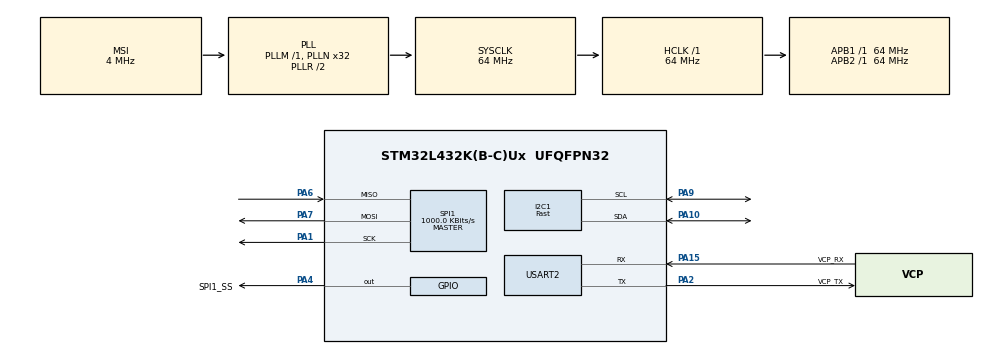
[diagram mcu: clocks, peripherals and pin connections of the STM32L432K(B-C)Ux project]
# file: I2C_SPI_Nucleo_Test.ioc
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I2C1.Analog_Filter=I2C_ANALOGFILTER_ENABLE
I2C1.CustomTiming=Disabled
I2C1.I2C_Fall_Time=0
I2C1.I2C_Rise_Time=0
I2C1.I2C_Speed_Mode=I2C_Fast
I2C1.Timing=0x00602173
Mcu.Family=STM32L4
Mcu.Name=STM32L432K(B-C)Ux
Mcu.Package=UFQFPN32
NVIC.PriorityGroup=NVIC_PRIORITYGROUP_4
PA0.GPIO_Label=MCO [High speed clock in]
PA0.Mode=HSE-External-Clock-Source-for-LittleOrca
PA0.Signal=RCC_CK_IN
PA1.GPIO_PuPd=GPIO_PULLDOWN
PA1.Mode=Full_Duplex_Master
PA1.Signal=SPI1_SCK
PA10.Mode=I2C
PA10.Signal=I2C1_SDA
PA13\ (JTMS-SWDIO).GPIO_Label=SWDIO
PA13\ (JTMS-SWDIO).Mode=Serial_Wire
PA13\ (JTMS-SWDIO).Signal=SYS_JTMS-SWDIO
PA14\ (JTCK-SWCLK).GPIO_Label=SWCLK
PA14\ (JTCK-SWCLK).Mode=Serial_Wire
PA14\ (JTCK-SWCLK).Signal=SYS_JTCK-SWCLK
PA15\ (JTDI).GPIO_Label=VCP_RX
PA15\ (JTDI).Mode=Asynchronous
PA15\ (JTDI).Signal=USART2_RX
PA2.GPIO_Label=VCP_TX
PA2.Mode=Asynchronous
PA2.Signal=USART2_TX
PA4.GPIO_Label=SPI1_SS
PA4.GPIO_PuPd=GPIO_PULLDOWN
PA4.GPIO_Speed=GPIO_SPEED_FREQ_VERY_HIGH
PA4.PinState=GPIO_PIN_SET
PA4.Signal=GPIO_Output
PA6.GPIO_PuPd=GPIO_NOPULL
PA6.Mode=Full_Duplex_Master
PA6.Signal=SPI1_MISO
PA7.GPIO_PuPd=GPIO_PULLDOWN
PA7.Mode=Full_Duplex_Master
PA7.Signal=SPI1_MOSI
PA9.Mode=I2C
PA9.Signal=I2C1_SCL
PC14-OSC32_IN\ (PC14).Mode=LSE-External-Oscillator
PC14-OSC32_IN\ (PC14).Signal=RCC_OSC32_IN
PC15-OSC32_OUT\ (PC15).Mode=LSE-External-Oscillator
PC15-OSC32_OUT\ (PC15).Signal=RCC_OSC32_OUT
ProjectManager.HeapSize=0x200
ProjectManager.StackSize=0x400
ProjectManager.TargetToolchain=STM32CubeIDE
RCC.AHBFreq_Value=64000000
RCC.APB1Freq_Value=64000000
RCC.APB1TimFreq_Value=64000000
RCC.APB2Freq_Value=64000000
RCC.APB2TimFreq_Value=64000000
RCC.CortexFreq_Value=64000000
RCC.HCLKFreq_Value=64000000
RCC.HSE_VALUE=8000000
RCC.HSI16_VALUE=16000000
RCC.HSI48_VALUE=48000000
RCC.HSI_VALUE=16000000
RCC.MSI_VALUE=4000000
RCC.PLLMUL=RCC_PLLMUL_4
RCC.PLLN=32
RCC.SYSCLKFreq_VALUE=64000000
RCC.SYSCLKSource=RCC_SYSCLKSOURCE_PLLCLK
RCC.VCOOutputFreq_Value=128000000
SPI1.BaudRatePrescaler=SPI_BAUDRATEPRESCALER_64
SPI1.CalculateBaudRate=1000.0 KBits/s
SPI1.DataSize=SPI_DATASIZE_16BIT
SPI1.Direction=SPI_DIRECTION_2LINES
SPI1.Mode=SPI_MODE_MASTER
SPI1.VirtualType=VM_MASTER
USART2.VirtualMode-Asynchronous=VM_ASYNC
board=NUCLEO-L432KC

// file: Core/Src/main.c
/* USER CODE BEGIN Header */
/**
  ******************************************************************************
  * @file           : main.c
  * @brief          : Main program body
  ******************************************************************************
  * @attention
  *
  * <h2><center>&copy; Copyright (c) 2025 STMicroelectronics.
  * All rights reserved.</center></h2>
  *
  * This software component is licensed by ST under BSD 3-Clause license,
  * the "License"; You may not use this file except in compliance with the
  * License. You may obtain a copy of the License at:
  *                        opensource.org/licenses/BSD-3-Clause
  *
  ******************************************************************************
  */
/* USER CODE END Header */
#include "main.h"

/* USER CODE BEGIN Includes */
#include "stdio.h"
/* USER CODE END Includes */

/* USER CODE BEGIN PD */
#define SLV_ADDRESS (0x69 << 1)

#define PUTCHAR_RETARGET_FUNCT int __io_putchar(int ch)
/* USER CODE END PD */

I2C_HandleTypeDef hi2c1;

SPI_HandleTypeDef hspi1;

UART_HandleTypeDef huart2;

void SystemClock_Config(void);
static void MX_GPIO_Init(void);
static void MX_I2C1_Init(void);
static void MX_SPI1_Init(void);
static void MX_USART2_UART_Init(void);

int main(void)
{
  /* USER CODE BEGIN 1 */
	uint8_t i2c_txData[2] = {0}, i2c_rxData[2] = {0}, spi_txData[2] = {0}, spi_rxData[2] = {0};
	HAL_GPIO_WritePin(SPI1_SS_GPIO_Port, SPI1_SS_Pin, GPIO_PIN_SET); // SS High
  /* USER CODE END 1 */

  /* MCU Configuration--------------------------------------------------------*/

  /* Reset of all peripherals, Initializes the Flash interface and the Systick. */
  HAL_Init();

  /* Configure the system clock */
  SystemClock_Config();

  /* Initialize all configured peripherals */
  MX_GPIO_Init();
  MX_I2C1_Init();
  MX_SPI1_Init();
  MX_USART2_UART_Init();
  /* USER CODE BEGIN 2 */

  // send unique seed and enable bit to I2C Slave; I2C1: SCL:D1/TX, SDA:D0/RX
  i2c_txData[0] = 0x81;
  i2c_txData[1] = 0x01;
  HAL_I2C_Mem_Write(&hi2c1, SLV_ADDRESS, 0x15, 1, &i2c_txData[0], 2, 100);

  // send spi; SPI1: MOSI:A6, MISO:A5, CS:A3, SCK:A1
  spi_txData[1] = (uint8_t)(0x0 << 7) | 0x15;
  spi_txData[0] = 0x56; // write unique seed
  HAL_GPIO_WritePin(SPI1_SS_GPIO_Port, SPI1_SS_Pin, GPIO_PIN_RESET); // SS Pull Low
  HAL_SPI_TransmitReceive(&hspi1, spi_txData, spi_rxData, 1, HAL_MAX_DELAY);
  HAL_GPIO_WritePin(SPI1_SS_GPIO_Port, SPI1_SS_Pin, GPIO_PIN_SET); // SS Pull High
  spi_txData[1] = (uint8_t)(0x0 << 7) | 0x16;
  spi_txData[0] = 0x01; // write enable bit in status/config reg
  HAL_GPIO_WritePin(SPI1_SS_GPIO_Port, SPI1_SS_Pin, GPIO_PIN_RESET); // SS Pull Low
  HAL_SPI_TransmitReceive(&hspi1, spi_txData, spi_rxData, 1, HAL_MAX_DELAY);
  HAL_GPIO_WritePin(SPI1_SS_GPIO_Port, SPI1_SS_Pin, GPIO_PIN_SET); // SS Pull High

  /* USER CODE END 2 */

  /* Infinite loop */
  while (1)
  {

    /* USER CODE BEGIN 3 */

	  // receive registers from I2C Slave
	  HAL_I2C_Mem_Read(&hi2c1, SLV_ADDRESS, 0x15, 1, i2c_rxData, 2, 100);
	  printf("I2C-REG 0x15: %02X\r\nI2C-REG 0x16: %02X\r\n\r\n", i2c_rxData[0], i2c_rxData[1]);

	  // receive registers from SPI Slave
	  spi_txData[1] = (uint8_t)(0x1 << 7) | 0x15;
	  spi_txData[0] = 0x00;
	  HAL_GPIO_WritePin(SPI1_SS_GPIO_Port, SPI1_SS_Pin, GPIO_PIN_RESET); // SS Pull Low
	  HAL_SPI_TransmitReceive(&hspi1, spi_txData, spi_rxData, 1, HAL_MAX_DELAY);
	  HAL_GPIO_WritePin(SPI1_SS_GPIO_Port, SPI1_SS_Pin, GPIO_PIN_SET); // SS Pull High
	  printf("SPI-REG 0x15: %02X\r\n", spi_rxData[0]);
	  spi_txData[1] = (uint8_t)(0x1 << 7) | 0x16;
	  spi_txData[0] = 0x00;
	  HAL_GPIO_WritePin(SPI1_SS_GPIO_Port, SPI1_SS_Pin, GPIO_PIN_RESET); // SS Pull Low
	  HAL_SPI_TransmitReceive(&hspi1, spi_txData, spi_rxData, 1, HAL_MAX_DELAY);
	  HAL_GPIO_WritePin(SPI1_SS_GPIO_Port, SPI1_SS_Pin, GPIO_PIN_SET); // SS Pull High
	  printf("SPI-REG 0x16: %02X\r\n\r\n", spi_rxData[0]);

	  //HAL_Delay(1000);
	  for(uint32_t i = 0; i < 640; i++); // 100 us Delay
  }
  /* USER CODE END 3 */
}

void SystemClock_Config(void)
{
  RCC_OscInitTypeDef RCC_OscInitStruct = {0};
  RCC_ClkInitTypeDef RCC_ClkInitStruct = {0};

  /** Configure the main internal regulator output voltage
  */
  if (HAL_PWREx_ControlVoltageScaling(PWR_REGULATOR_VOLTAGE_SCALE1) != HAL_OK)
  {
    Error_Handler();
  }
  /** Configure LSE Drive Capability
  */
  HAL_PWR_EnableBkUpAccess();
  __HAL_RCC_LSEDRIVE_CONFIG(RCC_LSEDRIVE_LOW);
  /** Initializes the RCC Oscillators according to the specified parameters
  * in the RCC_OscInitTypeDef structure.
  */
  RCC_OscInitStruct.OscillatorType = RCC_OSCILLATORTYPE_LSE|RCC_OSCILLATORTYPE_MSI;
  RCC_OscInitStruct.LSEState = RCC_LSE_ON;
  RCC_OscInitStruct.MSIState = RCC_MSI_ON;
  RCC_OscInitStruct.MSICalibrationValue = 0;
  RCC_OscInitStruct.MSIClockRange = RCC_MSIRANGE_6;
  RCC_OscInitStruct.PLL.PLLState = RCC_PLL_ON;
  RCC_OscInitStruct.PLL.PLLSource = RCC_PLLSOURCE_MSI;
  RCC_OscInitStruct.PLL.PLLM = 1;
  RCC_OscInitStruct.PLL.PLLN = 32;
  RCC_OscInitStruct.PLL.PLLP = RCC_PLLP_DIV7;
  RCC_OscInitStruct.PLL.PLLQ = RCC_PLLQ_DIV2;
  RCC_OscInitStruct.PLL.PLLR = RCC_PLLR_DIV2;
  if (HAL_RCC_OscConfig(&RCC_OscInitStruct) != HAL_OK)
  {
    Error_Handler();
  }
  /** Initializes the CPU, AHB and APB buses clocks
  */
  RCC_ClkInitStruct.ClockType = RCC_CLOCKTYPE_HCLK|RCC_CLOCKTYPE_SYSCLK
                              |RCC_CLOCKTYPE_PCLK1|RCC_CLOCKTYPE_PCLK2;
  RCC_ClkInitStruct.SYSCLKSource = RCC_SYSCLKSOURCE_PLLCLK;
  RCC_ClkInitStruct.AHBCLKDivider = RCC_SYSCLK_DIV1;
  RCC_ClkInitStruct.APB1CLKDivider = RCC_HCLK_DIV1;
  RCC_ClkInitStruct.APB2CLKDivider = RCC_HCLK_DIV1;

  if (HAL_RCC_ClockConfig(&RCC_ClkInitStruct, FLASH_LATENCY_3) != HAL_OK)
  {
    Error_Handler();
  }
  /** Enable MSI Auto calibration
  */
  HAL_RCCEx_EnableMSIPLLMode();
}

static void MX_I2C1_Init(void)
{

  hi2c1.Instance = I2C1;
  hi2c1.Init.Timing = 0x00602173;
  hi2c1.Init.OwnAddress1 = 0;
  hi2c1.Init.AddressingMode = I2C_ADDRESSINGMODE_7BIT;
  hi2c1.Init.DualAddressMode = I2C_DUALADDRESS_DISABLE;
  hi2c1.Init.OwnAddress2 = 0;
  hi2c1.Init.OwnAddress2Masks = I2C_OA2_NOMASK;
  hi2c1.Init.GeneralCallMode = I2C_GENERALCALL_DISABLE;
  hi2c1.Init.NoStretchMode = I2C_NOSTRETCH_DISABLE;
  if (HAL_I2C_Init(&hi2c1) != HAL_OK)
  {
    Error_Handler();
  }
  /** Configure Analogue filter
  */
  if (HAL_I2CEx_ConfigAnalogFilter(&hi2c1, I2C_ANALOGFILTER_ENABLE) != HAL_OK)
  {
    Error_Handler();
  }
  /** Configure Digital filter
  */
  if (HAL_I2CEx_ConfigDigitalFilter(&hi2c1, 0) != HAL_OK)
  {
    Error_Handler();
  }

}

static void MX_SPI1_Init(void)
{

  /* SPI1 parameter configuration*/
  hspi1.Instance = SPI1;
  hspi1.Init.Mode = SPI_MODE_MASTER;
  hspi1.Init.Direction = SPI_DIRECTION_2LINES;
  hspi1.Init.DataSize = SPI_DATASIZE_16BIT;
  hspi1.Init.CLKPolarity = SPI_POLARITY_LOW;
  hspi1.Init.CLKPhase = SPI_PHASE_1EDGE;
  hspi1.Init.NSS = SPI_NSS_SOFT;
  hspi1.Init.BaudRatePrescaler = SPI_BAUDRATEPRESCALER_64;
  hspi1.Init.FirstBit = SPI_FIRSTBIT_MSB;
  hspi1.Init.TIMode = SPI_TIMODE_DISABLE;
  hspi1.Init.CRCCalculation = SPI_CRCCALCULATION_DISABLE;
  hspi1.Init.CRCPolynomial = 7;
  hspi1.Init.CRCLength = SPI_CRC_LENGTH_DATASIZE;
  hspi1.Init.NSSPMode = SPI_NSS_PULSE_ENABLE;
  if (HAL_SPI_Init(&hspi1) != HAL_OK)
  {
    Error_Handler();
  }

}

static void MX_USART2_UART_Init(void)
{

  huart2.Instance = USART2;
  huart2.Init.BaudRate = 115200;
  huart2.Init.WordLength = UART_WORDLENGTH_8B;
  huart2.Init.StopBits = UART_STOPBITS_1;
  huart2.Init.Parity = UART_PARITY_NONE;
  huart2.Init.Mode = UART_MODE_TX_RX;
  huart2.Init.HwFlowCtl = UART_HWCONTROL_NONE;
  huart2.Init.OverSampling = UART_OVERSAMPLING_16;
  huart2.Init.OneBitSampling = UART_ONE_BIT_SAMPLE_DISABLE;
  huart2.AdvancedInit.AdvFeatureInit = UART_ADVFEATURE_NO_INIT;
  if (HAL_UART_Init(&huart2) != HAL_OK)
  {
    Error_Handler();
  }

}

static void MX_GPIO_Init(void)
{
  GPIO_InitTypeDef GPIO_InitStruct = {0};

  /* GPIO Ports Clock Enable */
  __HAL_RCC_GPIOC_CLK_ENABLE();
  __HAL_RCC_GPIOA_CLK_ENABLE();

  /*Configure GPIO pin Output Level */
  HAL_GPIO_WritePin(SPI1_SS_GPIO_Port, SPI1_SS_Pin, GPIO_PIN_SET);

  /*Configure GPIO pin : SPI1_SS_Pin */
  GPIO_InitStruct.Pin = SPI1_SS_Pin;
  GPIO_InitStruct.Mode = GPIO_MODE_OUTPUT_PP;
  GPIO_InitStruct.Pull = GPIO_PULLDOWN;
  GPIO_InitStruct.Speed = GPIO_SPEED_FREQ_VERY_HIGH;
  HAL_GPIO_Init(SPI1_SS_GPIO_Port, &GPIO_InitStruct);

}

/* USER CODE BEGIN 4 */

/**
  * @brief  Retargets the C library printf function to the USART.
  *   None
  * @retval None
  */
PUTCHAR_RETARGET_FUNCT
{
  HAL_UART_Transmit(&huart2, (uint8_t *)&ch, 1, HAL_MAX_DELAY);
  return ch;
}

/* USER CODE END 4 */

void Error_Handler(void)
{
  __disable_irq();
  while (1)
  {
  }
}

/************************ (C) COPYRIGHT STMicroelectronics *****END OF FILE****/
